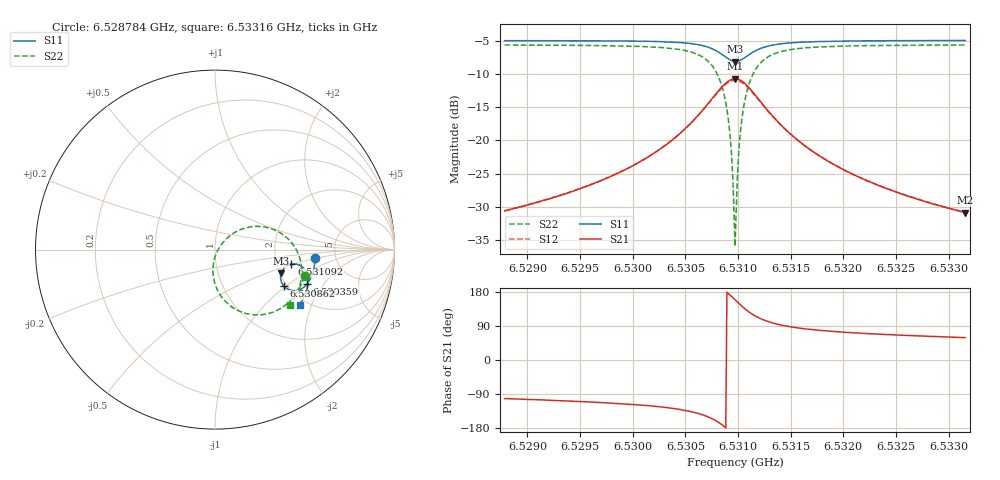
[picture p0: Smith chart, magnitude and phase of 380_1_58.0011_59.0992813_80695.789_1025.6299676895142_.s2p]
#  HZ  S  RI  R  50.00
! Rohde & Schwarz Vector Network Analyzer
! Rohde-Schwarz,ZNB20-2Port,1311601062101988,3.16
! Created: UTC 3/21/2024, 1:07:17 AM
! freq[Hz]  re:S11  im:S11  re:S21  im:S21  re:S12  im:S12  re:S22  im:S22
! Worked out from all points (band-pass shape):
!   401 points, 6.528784 GHz to 6.53316 GHz, reference 50 ohm
!   highest |S21| = -10.74 dB at 6.530972 GHz (marker M1); lowest = -30.9 dB at 6.53316 GHz (marker M2)
!   |S21| within 3 dB of the highest: 6.530754 GHz to 6.531192 GHz (437.9 kHz wide, 0.00671 % of centre)
!   lowest |S11| = -8.2 dB at 6.530972 GHz (marker M3), VSWR 2.28, Z = 101 - j31.9 ohm
!   |S11| at or under -10 dB: nowhere
!   |S22| runs from -35.9 to -5.7 dB; largest |S21 - S12| = 0.011
!   S11 on the Smith chart (normalised r, x): 6.528784 GHz: 3.49, -0.47; 6.530359 GHz: 2.57, -1.40; 6.530862 GHz: 1.93, -0.97; 6.531092 GHz: 2.42, -0.48; 6.53316 GHz: 1.82, -1.65
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6.5287837e9  0.5594 -0.0462  -0.00613 -0.0288  -0.00661 -0.0288  0.4988 -0.1491
6.5295167e9  0.5502 -0.1065  -0.0148 -0.0412  -0.0157 -0.0409  0.4703 -0.216
6.5302497e9  0.5232 -0.1773  -0.0465 -0.0708  -0.0484 -0.0698  0.3932 -0.3086
6.5303591e9  0.5143 -0.1901  -0.0587 -0.0786  -0.0609 -0.077  0.3674 -0.327
6.5306982e9  0.4522 -0.2281  -0.1541 -0.0959  -0.1562 -0.09  0.1865 -0.3588
6.5307967e9  0.4131 -0.2235  -0.2146 -0.0725  -0.2142 -0.0639  0.0829 -0.3112
6.5308623e9  0.3841 -0.2035  -0.2579 -0.0281  -0.2538 -0.0188  0.0157 -0.2295
6.530917e9  0.3675 -0.1723  -0.2796 0.0324  -0.2719 0.04  -0.0116 -0.1254
6.5309389e9  0.365 -0.157  -0.2806 0.0609  -0.2717 0.067  -0.00863 -0.0782
6.5309499e9  0.3651 -0.1491  -0.2788 0.0754  -0.2696 0.0807  -0.00381 -0.0547
6.5309608e9  0.3661 -0.141  -0.2757 0.0899  -0.2662 0.0943  0.00352 -0.0312
6.5309717e9  0.3678 -0.1331  -0.2713 0.104  -0.2615 0.1076  0.0134 -0.00875
6.5309827e9  0.3707 -0.1255  -0.2655 0.1177  -0.2557 0.1203  0.0253 0.0128
6.5309936e9  0.3741 -0.1184  -0.2582 0.1307  -0.2485 0.1324  0.0391 0.0328
6.5310155e9  0.3832 -0.1053  -0.2406 0.1536  -0.2313 0.1538  0.0719 0.068
6.5310374e9  0.3944 -0.0948  -0.2196 0.1722  -0.211 0.1711  0.1094 0.0953
6.5310921e9  0.426 -0.081  -0.1619 0.1976  -0.1562 0.1948  0.209 0.1283
6.5311687e9  0.4648 -0.0844  -0.0936 0.1957  -0.0906 0.1931  0.3243 0.1129
6.5312781e9  0.4978 -0.1071  -0.0357 0.1656  -0.0343 0.1643  0.418 0.0483
6.5317048e9  0.5196 -0.1831  0.0143 0.0819  0.0152 0.0815  0.4831 -0.1292
6.5324378e9  0.4995 -0.2554  0.0167 0.0394  0.0175 0.039  0.4556 -0.2449
6.5331598e9  0.4715 -0.3085  0.0147 0.0244  0.0152 0.0243  0.4205 -0.3069
